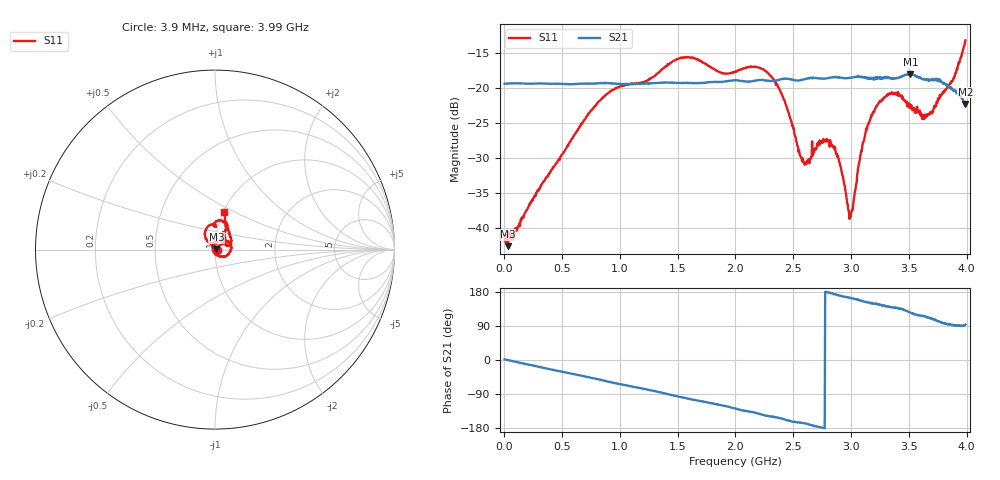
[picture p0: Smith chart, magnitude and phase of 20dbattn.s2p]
# HZ S RI R 50
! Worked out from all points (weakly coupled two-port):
!   1023 points, 3.9 MHz to 3.99 GHz, reference 50 ohm
!   highest |S21| = -18.01 dB at 3.514 GHz (marker M1); lowest = -22.3 dB at 3.99 GHz (marker M2)
!   lowest |S11| = -42.7 dB at 31.2 MHz (marker M3), VSWR 1.01, Z = 50.7 + j0.0571 ohm
!   |S11| at or under -10 dB: start of sweep to end of sweep
!   S12 and S22 are empty: the file has one direction only
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3900000  0.00866 0.000234  0.107 0.00307  0 0  0 0
3.12e7  0.00733 0.000563  0.1072 -5.93e-05  0 0  0 0
6.708e8  0.043 0.0341  0.08 -0.071  0 0  0 0
9.204e8  0.0545 0.0777  0.0565 -0.0918  0 0  0 0
1.3338e9  0.0608 0.1128  0.0108 -0.1077  0 0  0 0
1.5795e9  0.0328 0.1619  -0.0208 -0.1062  0 0  0 0
1.9968e9  0.00421 0.1297  -0.0691 -0.0899  0 0  0 0
2.1684e9  -0.0198 0.1401  -0.0846 -0.074  0 0  0 0
2.301e9  -0.051 0.1113  -0.0957 -0.0577  0 0  0 0
2.4219e9  -0.0518 0.0634  -0.1065 -0.0462  0 0  0 0
2.5779e9  -0.0105 0.0279  -0.1106 -0.0277  0 0  0 0
2.6637e9  0.00309 0.0413  -0.1156 -0.0161  0 0  0 0
2.7612e9  0.00638 0.0426  -0.1162 -0.000856  0 0  0 0
2.847e9  -0.00684 0.037  -0.1184 0.0113  0 0  0 0
2.9055e9  -0.0135 0.025  -0.1163 0.0211  0 0  0 0
2.9991e9  -0.0111 -0.00608  -0.1134 0.0333  0 0  0 0
3.1395e9  0.0335 -0.0388  -0.1033 0.0546  0 0  0 0
3.3267e9  0.0893 0.00612  -0.0917 0.0745  0 0  0 0
3.5139e9  0.0503 0.0544  -0.0729 0.1025  0 0  0 0
3.6933e9  0.0612 0.027  -0.0389 0.1083  0 0  0 0
3.8922e9  0.0814 0.087  -0.00162 0.0959  0 0  0 0
3.9897e9  0.0514 0.212  -0.00436 0.0765  0 0  0 0
